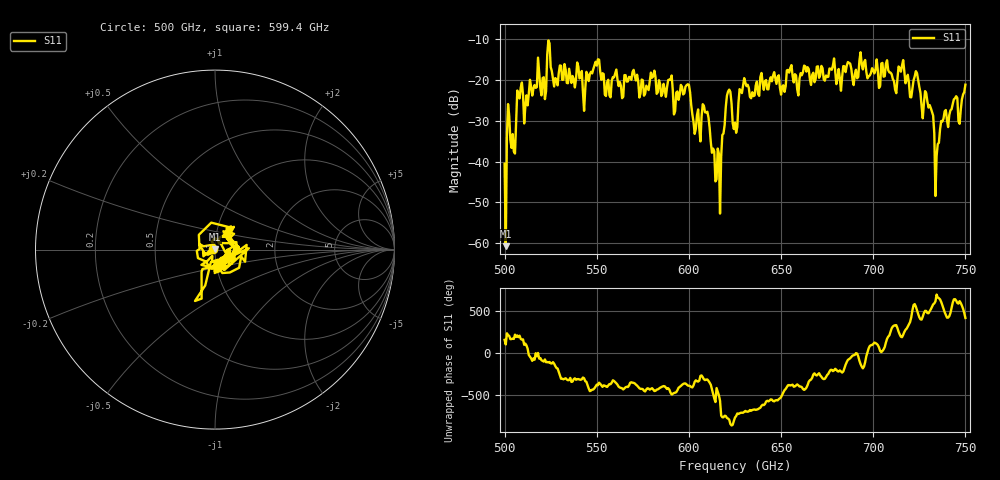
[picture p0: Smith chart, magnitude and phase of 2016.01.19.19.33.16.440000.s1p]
!Created with skrf (http://scikit-rf.org).
# GHz S RI R 50.0
!freq ReS11 ImS11
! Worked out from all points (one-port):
!   401 points, 500 GHz to 750 GHz, reference 50 ohm
!   lowest |S11| = -60.8 dB at 500.6 GHz (marker M1), VSWR 1.00, Z = 50 + j0.0888 ohm
!   |S11| at or under -10 dB: start of sweep to end of sweep
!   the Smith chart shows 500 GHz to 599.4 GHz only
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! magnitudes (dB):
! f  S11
! 500 GHz  -40.6
! 500.6 GHz  -60.8
! 502.5 GHz  -28.8
! 505 GHz  -37.5
! 508.1 GHz  -24.5
! 521.2 GHz  -19.3
! 524.4 GHz  -11.0
! 527.5 GHz  -19.5
! 531.2 GHz  -19.9
! 543.8 GHz  -22.2
! 550 GHz  -16.4
! 562.5 GHz  -20.5
! 580.6 GHz  -19.0
! 593.8 GHz  -22.8
! 599.4 GHz  -21.0
! 605 GHz  -27.2
! 608.8 GHz  -27.9
! 615.6 GHz  -36.8
! 621.2 GHz  -22.8
! 625 GHz  -30.5
! 630.6 GHz  -20.6
! 656.2 GHz  -19.0
! 687.5 GHz  -16.0
! 718.8 GHz  -18.7
! 729.4 GHz  -25.3
! 734.4 GHz  -38.6
! 738.1 GHz  -29.4
! 750 GHz  -21.1
